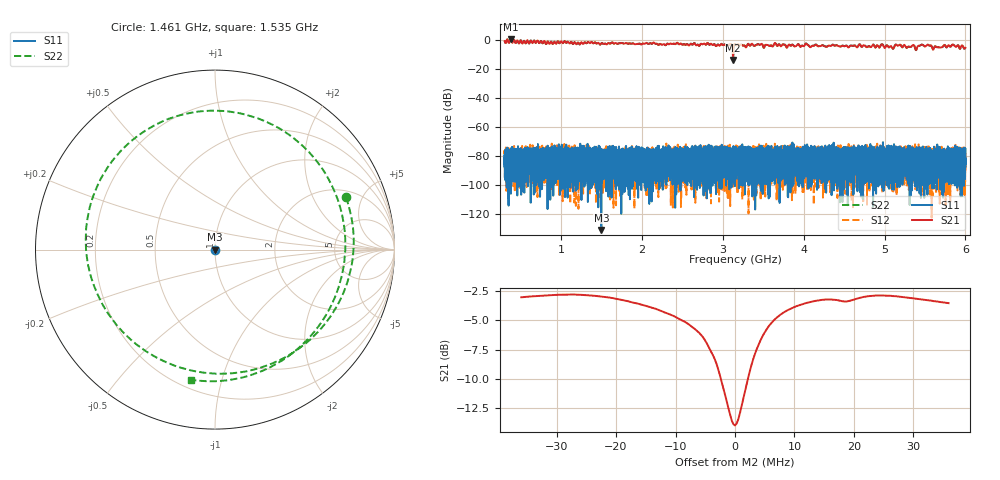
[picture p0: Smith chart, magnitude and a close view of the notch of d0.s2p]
!Agilent Technologies,N5230C,SG49000117,A.08.50.07
!Agilent N5230C: A.08.50.07
!Date: Sunday, March 17, 2024 01:25:17
!Correction: S11(Off)
!S21(Off)
!S12(Off)
!S22(Off)
!S2P File: Measurements: S11, S21, S12, S22:
# Hz S  RI  R 50
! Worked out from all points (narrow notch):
!   20001 points, 300 MHz to 6 GHz, reference 50 ohm
!   highest |S21| = 0.47 dB at 374.1 MHz (marker M1); lowest = -13.9 dB at 3.126 GHz (marker M2)
!   notch at M2: 10.6 dB deep, 6.02 MHz wide at half that depth
!   lowest |S11| = -131.1 dB at 1.496 GHz (marker M3), VSWR 1.00, Z = 50 + j1.94e-05 ohm
!   |S11| at or under -10 dB: start of sweep to end of sweep
!   |S22| runs from -13.9 to 0.5 dB; largest |S21 - S12| = 1.1
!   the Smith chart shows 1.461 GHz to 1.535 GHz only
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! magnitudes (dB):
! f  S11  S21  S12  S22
! 300 MHz  -81.9  -0.9  -81.5  -0.8
! 374.1 MHz  -83.4  0.5  -94.9  0.5
! 1.25 GHz  -85.5  -1.7  -85.7  -1.7
! 1.496 GHz  -131.1  -2.4  -86.3  -2.4
! 2.2 GHz  -88.2  -3.4  -79.4  -3.4
! 2.83 GHz  -79.2  -3.4  -75.6  -3.4
! 3.084 GHz  -79.5  -3.3  -77.1  -3.3
! 3.126 GHz  -75.2  -13.9  -78.3  -13.9
! 3.15 GHz  -75.7  -2.9  -80.3  -2.9
! 3.167 GHz  -80.4  -3.8  -80.3  -3.7
! 3.271 GHz  -90.0  -4.2  -79.2  -4.2
! 3.458 GHz  -84.0  -3.5  -82.0  -3.4
! 4.037 GHz  -83.3  -2.9  -75.3  -2.8
! 4.1 GHz  -86.2  -4.3  -79.9  -4.2
! 5.05 GHz  -88.1  -5.1  -86.4  -5.1
! 5.167 GHz  -78.4  -4.1  -80.0  -4.0
! 5.398 GHz  -85.1  -6.2  -82.1  -6.2
! 5.445 GHz  -84.7  -3.7  -79.5  -3.7
! 5.549 GHz  -81.3  -3.8  -83.6  -3.8
! 5.615 GHz  -78.7  -5.1  -77.4  -5.1
! 5.848 GHz  -93.8  -3.3  -78.9  -3.4
! 6 GHz  -82.4  -5.5  -82.2  -5.5
